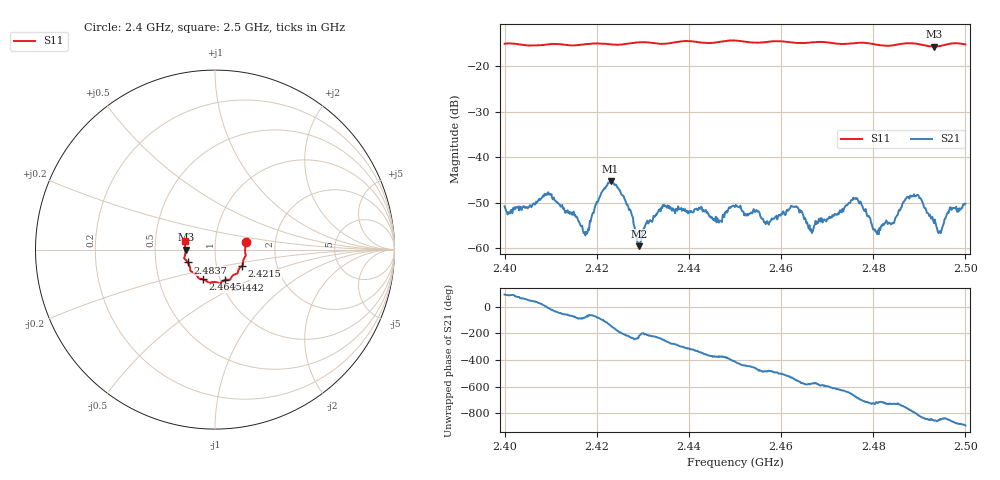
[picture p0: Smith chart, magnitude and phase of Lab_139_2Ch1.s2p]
# Hz S RI R 50
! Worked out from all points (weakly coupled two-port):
!   601 points, 2.4 GHz to 2.5 GHz, reference 50 ohm
!   highest |S21| = -45.29 dB at 2.423 GHz (marker M1); lowest = -59.6 dB at 2.4292 GHz (marker M2)
!   lowest |S11| = -15.7 dB at 2.4932 GHz (marker M3), VSWR 1.39, Z = 36 - j0.0477 ohm
!   |S11| at or under -10 dB: start of sweep to end of sweep
!   S12 and S22 are empty: the file has one direction only
!   S11 on the Smith chart (normalised r, x): 2.4 GHz: 1.41, +0.12; 2.4215 GHz: 1.33, -0.25; 2.4442 GHz: 1.05, -0.37; 2.4645 GHz: 0.83, -0.29; 2.4837 GHz: 0.73, -0.11; 2.5 GHz: 0.71, +0.07
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2.4e9  0.1711 0.0402  -5.08e-05 0.00289  0 0  0 0
2.409667e9  0.1713 -0.0283  0.00379 -0.000791  0 0  0 0
2.416667e9  0.1569 -0.0698  0.000129 -0.00173  0 0  0 0
2.417833e9  0.1557 -0.078  0.000499 -0.00136  0 0  0 0
2.4215e9  0.151 -0.0898  -0.00122 -0.00426  0 0  0 0
2.423e9  0.1442 -0.0955  -0.00431 -0.00332  0 0  0 0
2.427167e9  0.1285 -0.122  -0.00189 0.0019  0 0  0 0
2.429167e9  0.1271 -0.1304  -0.000824 0.000656  0 0  0 0
2.433333e9  0.1083 -0.1386  -0.0015 0.00203  0 0  0 0
2.444167e9  0.0565 -0.1695  0.00241 -0.000205  0 0  0 0
2.45e9  0.0248 -0.1889  0.00175 -0.00223  0 0  0 0
2.456833e9  -0.022 -0.1822  -0.0011 -0.00158  0 0  0 0
2.4645e9  -0.0658 -0.166  -0.00218 0.00132  0 0  0 0
2.466667e9  -0.0827 -0.1619  -0.0012 0.000845  0 0  0 0
2.476e9  -0.1293 -0.1224  0.00234 0.00259  0 0  0 0
2.480667e9  -0.1387 -0.1016  0.00151 0.000152  0 0  0 0
2.483333e9  -0.149 -0.0751  0.00187 -0.000368  0 0  0 0
2.483667e9  -0.1509 -0.0718  0.00186 -0.000283  0 0  0 0
2.489333e9  -0.1707 -0.043  0.00058 -0.00372  0 0  0 0
2.493167e9  -0.1635 -0.000645  -0.00131 -0.00135  0 0  0 0
2.4945e9  -0.1653 0.0159  -0.00081 -0.00132  0 0  0 0
2.5e9  -0.1651 0.0506  -0.00304 -0.000525  0 0  0 0
